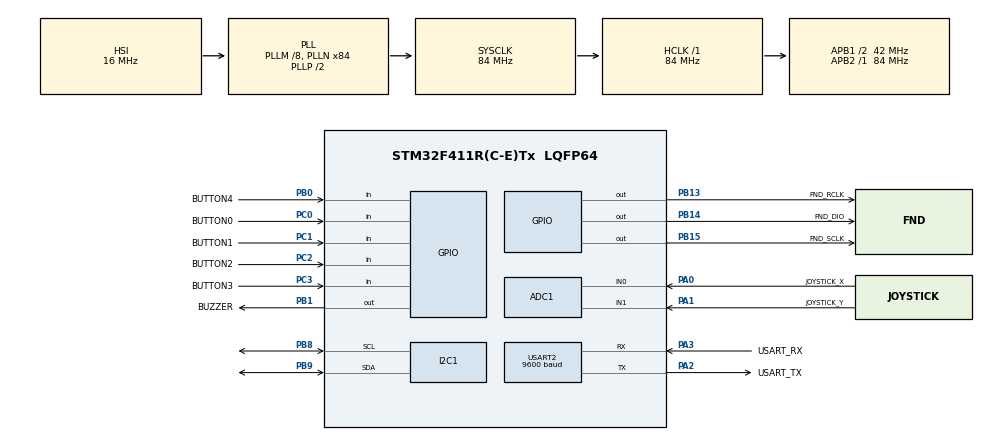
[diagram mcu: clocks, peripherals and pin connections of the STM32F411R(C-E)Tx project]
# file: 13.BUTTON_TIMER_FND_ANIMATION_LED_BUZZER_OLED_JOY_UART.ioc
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ADC1.Channel-4\#ChannelRegularConversion=ADC_CHANNEL_0
ADC1.Channel-5\#ChannelRegularConversion=ADC_CHANNEL_1
ADC1.InjNumberOfConversion=0
ADC1.NbrOfConversion=2
ADC1.NbrOfConversionFlag=1
ADC1.Rank-4\#ChannelRegularConversion=1
ADC1.Rank-5\#ChannelRegularConversion=2
ADC1.SamplingTime-4\#ChannelRegularConversion=ADC_SAMPLETIME_56CYCLES
ADC1.SamplingTime-5\#ChannelRegularConversion=ADC_SAMPLETIME_56CYCLES
ADC1.ScanConvMode=ENABLE
ADC1.master=1
Mcu.Family=STM32F4
Mcu.Name=STM32F411R(C-E)Tx
Mcu.Package=LQFP64
NVIC.PriorityGroup=NVIC_PRIORITYGROUP_0
NVIC.TIM1_UP_TIM10_IRQn=true\:0\:0\:false\:false\:true\:true\:true\:true
NVIC.USART2_IRQn=true\:0\:0\:false\:false\:true\:true\:true\:true
PA0-WKUP.GPIO_Label=JOYSTICK_X
PA0-WKUP.Signal=SharedAnalog_PA0
PA1.GPIO_Label=JOYSTICK_Y
PA1.Signal=SharedAnalog_PA1
PA2.GPIO_Label=USART_TX
PA2.Mode=Asynchronous
PA2.Signal=USART2_TX
PA3.GPIO_Label=USART_RX
PA3.Mode=Asynchronous
PA3.Signal=USART2_RX
PB0.GPIO_Label=BUTTON4
PB0.GPIO_PuPd=GPIO_PULLUP
PB0.Signal=GPIO_Input
PB1.GPIO_Label=BUZZER
PB1.Signal=GPIO_Output
PB13.GPIO_Label=FND_RCLK
PB13.GPIO_ModeDefaultOutputPP=GPIO_MODE_OUTPUT_PP
PB13.GPIO_PuPd=GPIO_PULLUP
PB13.GPIO_Speed=GPIO_SPEED_FREQ_HIGH
PB13.PinState=GPIO_PIN_SET
PB13.Signal=GPIO_Output
PB14.GPIO_Label=FND_DIO
PB14.GPIO_ModeDefaultOutputPP=GPIO_MODE_OUTPUT_PP
PB14.GPIO_PuPd=GPIO_PULLUP
PB14.GPIO_Speed=GPIO_SPEED_FREQ_HIGH
PB14.PinState=GPIO_PIN_SET
PB14.Signal=GPIO_Output
PB15.GPIO_Label=FND_SCLK
PB15.GPIO_PuPd=GPIO_PULLUP
PB15.GPIO_Speed=GPIO_SPEED_FREQ_HIGH
PB15.PinState=GPIO_PIN_SET
PB15.Signal=GPIO_Output
PB8.Mode=I2C
PB8.Signal=I2C1_SCL
PB9.Mode=I2C
PB9.Signal=I2C1_SDA
PC0.GPIO_Label=BUTTON0
PC0.GPIO_PuPd=GPIO_PULLUP
PC0.Signal=GPIO_Input
PC1.GPIO_Label=BUTTON1
PC1.GPIO_PuPd=GPIO_PULLUP
PC1.Signal=GPIO_Input
PC2.GPIO_Label=BUTTON2
PC2.GPIO_PuPd=GPIO_PULLUP
PC2.Signal=GPIO_Input
PC3.GPIO_Label=BUTTON3
PC3.GPIO_PuPd=GPIO_PULLUP
PC3.Signal=GPIO_Input
ProjectManager.HeapSize=0x200
ProjectManager.StackSize=0x400
ProjectManager.TargetToolchain=STM32CubeIDE
RCC.48MHZClocksFreq_Value=42000000
RCC.AHBFreq_Value=84000000
RCC.APB1CLKDivider=RCC_HCLK_DIV2
RCC.APB1Freq_Value=42000000
RCC.APB1TimFreq_Value=84000000
RCC.APB2Freq_Value=84000000
RCC.APB2TimFreq_Value=84000000
RCC.CortexFreq_Value=84000000
RCC.FLatency-AdvancedSettings=FLASH_LATENCY_2
RCC.HCLKFreq_Value=84000000
RCC.HSE_VALUE=8000000
RCC.HSI_VALUE=16000000
RCC.LSE_VALUE=32768
RCC.PLLM=8
RCC.PLLN=84
RCC.SYSCLKFreq_VALUE=84000000
RCC.SYSCLKSource=RCC_SYSCLKSOURCE_PLLCLK
RCC.VCOOutputFreq_Value=168000000
SH.SharedAnalog_PA0.0=GPIO_Analog
SH.SharedAnalog_PA0.1=ADC1_IN0,IN0
SH.SharedAnalog_PA1.0=GPIO_Analog
SH.SharedAnalog_PA1.1=ADC1_IN1,IN1
TIM10.Period=500-1
TIM10.Prescaler=84-1
TIM2.Prescaler=84-1
USART2.BaudRate=9600
USART2.VirtualMode=VM_ASYNC
VP_TIM10_VS_ClockSourceINT.Mode=Enable_Timer
VP_TIM2_VS_ClockSourceINT.Mode=Internal
board=NUCLEO-F411RE

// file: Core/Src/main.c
/* USER CODE BEGIN Header */
/**
  ******************************************************************************
  * @file           : main.c
  * @brief          : Main program body
  ******************************************************************************
  * @attention
  *
  * Copyright (c) 2026 STMicroelectronics.
  * All rights reserved.
  *
  * This software is licensed under terms that can be found in the LICENSE file
  * in the root directory of this software component.
  * If no LICENSE file comes with this software, it is provided AS-IS.
  *
  ******************************************************************************
  */
/* USER CODE END Header */
#include "main.h"

/* USER CODE BEGIN Includes */
#include "button.h"
#include "button_uart.h"
#include "fnd_controller.h"
#include "ssd1306.h"
#include "joystick.h"
/* USER CODE END Includes */

ADC_HandleTypeDef hadc1;

I2C_HandleTypeDef hi2c1;

TIM_HandleTypeDef htim2;
TIM_HandleTypeDef htim10;

UART_HandleTypeDef huart2;

/* USER CODE BEGIN PV */

volatile int shots_left = 0; // fnd number

volatile int step = 0;
volatile int anim_cnt = 0;
volatile uint8_t fnd_digit = 0;

uint8_t rx_data;

#define UART_BUF_SIZE 32

uint8_t uart_buf[UART_BUF_SIZE];
volatile uint8_t uart_head = 0;
volatile uint8_t uart_tail = 0;
/* USER CODE END PV */

void SystemClock_Config(void);
static void MX_GPIO_Init(void);
static void MX_USART2_UART_Init(void);
static void MX_TIM10_Init(void);
static void MX_TIM2_Init(void);
static void MX_I2C1_Init(void);
static void MX_ADC1_Init(void);
/* USER CODE BEGIN PFP */
extern void led_main(void);
extern void delay_us(unsigned int us);
/* USER CODE END PFP */

/* USER CODE BEGIN 0 */

void HAL_TIM_PeriodElapsedCallback(TIM_HandleTypeDef *htim)
{
    if (htim->Instance == TIM10)
    {

    	digit4_outer_spin_number(shots_left, step, fnd_digit);

    	fnd_digit++;

    	if(fnd_digit >= 4)
    	{
    		fnd_digit = 0;
    	}

        anim_cnt++;
        if (anim_cnt > 45)
        {
          anim_cnt = 0;
          step++;
          if (step >= 13)
            step = 0;
        }

    }
}

#ifdef __GNUC__
#define PUTCHAR_PROTOTYPE int __io_putchar(int ch)
#else
#define PUTCHAR_PROTOTYPE int fputc(int ch, FILE *f)
#endif

PUTCHAR_PROTOTYPE
{
    HAL_UART_Transmit(&huart2, (uint8_t *)&ch, 1, 0xFFFF);
    return ch;
}

void HAL_UART_RxCpltCallback(UART_HandleTypeDef *huart)
{
    if (huart->Instance == USART2)
    {
        uint8_t next = (uart_head + 1) % UART_BUF_SIZE;

        if (next != uart_tail)
        {
            uart_buf[uart_head] = rx_data;
            uart_head = next;
        }

        HAL_UART_Receive_IT(&huart2, &rx_data, 1);
    }
}

/* USER CODE END 0 */

int main(void)
{

  /* MCU Configuration--------------------------------------------------------*/

  /* Reset of all peripherals, Initializes the Flash interface and the Systick. */
  HAL_Init();

  /* Configure the system clock */
  SystemClock_Config();

  /* Initialize all configured peripherals */
  MX_GPIO_Init();
  MX_USART2_UART_Init();
  MX_TIM10_Init();
  MX_TIM2_Init();
  MX_I2C1_Init();
  MX_ADC1_Init();
  /* USER CODE BEGIN 2 */
  HAL_TIM_Base_Start_IT(&htim10);
  HAL_TIM_Base_Start_IT(&htim2);

  init_fnd();
  ssd1306_init();

  grid_clear();
  grid_render();
  ssd1306_update_screen();

  HAL_UART_Receive_IT(&huart2, &rx_data, 1);
  /* USER CODE END 2 */

  /* Infinite loop */
  while (1)
  {

    /* USER CODE BEGIN 3 */
    //static int anim_cnt = 0;
    //static int step = 0;

    button_uart();

    HAL_ADC_Start(&hadc1);

    HAL_ADC_PollForConversion(&hadc1, 10);
    uint32_t x = HAL_ADC_GetValue(&hadc1);

    HAL_ADC_PollForConversion(&hadc1, 10);
    uint32_t y = HAL_ADC_GetValue(&hadc1);

    HAL_ADC_Stop(&hadc1);

    joystick_check(x, y);

    while (uart_tail != uart_head)
    {
      uint8_t data = uart_buf[uart_tail];
      uart_tail = (uart_tail + 1) % UART_BUF_SIZE;

      if (data == 0x10)
      {
        shots_left = 0;
        grid_clear();
        grid_render();
        ssd1306_update_screen();
      }

      oled_uart_process(data);
    }

    //digit4_outer_spin_number(shots_left, step, 15);

  /* USER CODE END 3 */
}
}
void SystemClock_Config(void)
{
  RCC_OscInitTypeDef RCC_OscInitStruct = {0};
  RCC_ClkInitTypeDef RCC_ClkInitStruct = {0};

  /** Configure the main internal regulator output voltage
  */
  __HAL_RCC_PWR_CLK_ENABLE();
  __HAL_PWR_VOLTAGESCALING_CONFIG(PWR_REGULATOR_VOLTAGE_SCALE1);

  /** Initializes the RCC Oscillators according to the specified parameters
  * in the RCC_OscInitTypeDef structure.
  */
  RCC_OscInitStruct.OscillatorType = RCC_OSCILLATORTYPE_HSI;
  RCC_OscInitStruct.HSIState = RCC_HSI_ON;
  RCC_OscInitStruct.HSICalibrationValue = RCC_HSICALIBRATION_DEFAULT;
  RCC_OscInitStruct.PLL.PLLState = RCC_PLL_ON;
  RCC_OscInitStruct.PLL.PLLSource = RCC_PLLSOURCE_HSI;
  RCC_OscInitStruct.PLL.PLLM = 8;
  RCC_OscInitStruct.PLL.PLLN = 84;
  RCC_OscInitStruct.PLL.PLLP = RCC_PLLP_DIV2;
  RCC_OscInitStruct.PLL.PLLQ = 4;
  if (HAL_RCC_OscConfig(&RCC_OscInitStruct) != HAL_OK)
  {
    Error_Handler();
  }

  /** Initializes the CPU, AHB and APB buses clocks
  */
  RCC_ClkInitStruct.ClockType = RCC_CLOCKTYPE_HCLK|RCC_CLOCKTYPE_SYSCLK
                              |RCC_CLOCKTYPE_PCLK1|RCC_CLOCKTYPE_PCLK2;
  RCC_ClkInitStruct.SYSCLKSource = RCC_SYSCLKSOURCE_PLLCLK;
  RCC_ClkInitStruct.AHBCLKDivider = RCC_SYSCLK_DIV1;
  RCC_ClkInitStruct.APB1CLKDivider = RCC_HCLK_DIV2;
  RCC_ClkInitStruct.APB2CLKDivider = RCC_HCLK_DIV1;

  if (HAL_RCC_ClockConfig(&RCC_ClkInitStruct, FLASH_LATENCY_2) != HAL_OK)
  {
    Error_Handler();
  }
}

static void MX_ADC1_Init(void)
{

  ADC_ChannelConfTypeDef sConfig = {0};

  /** Configure the global features of the ADC (Clock, Resolution, Data Alignment and number of conversion)
  */
  hadc1.Instance = ADC1;
  hadc1.Init.ClockPrescaler = ADC_CLOCK_SYNC_PCLK_DIV4;
  hadc1.Init.Resolution = ADC_RESOLUTION_12B;
  hadc1.Init.ScanConvMode = ENABLE;
  hadc1.Init.ContinuousConvMode = DISABLE;
  hadc1.Init.DiscontinuousConvMode = DISABLE;
  hadc1.Init.ExternalTrigConvEdge = ADC_EXTERNALTRIGCONVEDGE_NONE;
  hadc1.Init.ExternalTrigConv = ADC_SOFTWARE_START;
  hadc1.Init.DataAlign = ADC_DATAALIGN_RIGHT;
  hadc1.Init.NbrOfConversion = 2;
  hadc1.Init.DMAContinuousRequests = DISABLE;
  hadc1.Init.EOCSelection = ADC_EOC_SINGLE_CONV;
  if (HAL_ADC_Init(&hadc1) != HAL_OK)
  {
    Error_Handler();
  }

  /** Configure for the selected ADC regular channel its corresponding rank in the sequencer and its sample time.
  */
  sConfig.Channel = ADC_CHANNEL_0;
  sConfig.Rank = 1;
  sConfig.SamplingTime = ADC_SAMPLETIME_56CYCLES;
  if (HAL_ADC_ConfigChannel(&hadc1, &sConfig) != HAL_OK)
  {
    Error_Handler();
  }

  /** Configure for the selected ADC regular channel its corresponding rank in the sequencer and its sample time.
  */
  sConfig.Channel = ADC_CHANNEL_1;
  sConfig.Rank = 2;
  if (HAL_ADC_ConfigChannel(&hadc1, &sConfig) != HAL_OK)
  {
    Error_Handler();
  }

}

static void MX_I2C1_Init(void)
{

  hi2c1.Instance = I2C1;
  hi2c1.Init.ClockSpeed = 100000;
  hi2c1.Init.DutyCycle = I2C_DUTYCYCLE_2;
  hi2c1.Init.OwnAddress1 = 0;
  hi2c1.Init.AddressingMode = I2C_ADDRESSINGMODE_7BIT;
  hi2c1.Init.DualAddressMode = I2C_DUALADDRESS_DISABLE;
  hi2c1.Init.OwnAddress2 = 0;
  hi2c1.Init.GeneralCallMode = I2C_GENERALCALL_DISABLE;
  hi2c1.Init.NoStretchMode = I2C_NOSTRETCH_DISABLE;
  if (HAL_I2C_Init(&hi2c1) != HAL_OK)
  {
    Error_Handler();
  }

}

static void MX_TIM2_Init(void)
{

  TIM_ClockConfigTypeDef sClockSourceConfig = {0};
  TIM_MasterConfigTypeDef sMasterConfig = {0};

  htim2.Instance = TIM2;
  htim2.Init.Prescaler = 84-1;
  htim2.Init.CounterMode = TIM_COUNTERMODE_UP;
  htim2.Init.Period = 4294967295;
  htim2.Init.ClockDivision = TIM_CLOCKDIVISION_DIV1;
  htim2.Init.AutoReloadPreload = TIM_AUTORELOAD_PRELOAD_DISABLE;
  if (HAL_TIM_Base_Init(&htim2) != HAL_OK)
  {
    Error_Handler();
  }
  sClockSourceConfig.ClockSource = TIM_CLOCKSOURCE_INTERNAL;
  if (HAL_TIM_ConfigClockSource(&htim2, &sClockSourceConfig) != HAL_OK)
  {
    Error_Handler();
  }
  sMasterConfig.MasterOutputTrigger = TIM_TRGO_RESET;
  sMasterConfig.MasterSlaveMode = TIM_MASTERSLAVEMODE_DISABLE;
  if (HAL_TIMEx_MasterConfigSynchronization(&htim2, &sMasterConfig) != HAL_OK)
  {
    Error_Handler();
  }

}

static void MX_TIM10_Init(void)
{

  htim10.Instance = TIM10;
  htim10.Init.Prescaler = 84-1;
  htim10.Init.CounterMode = TIM_COUNTERMODE_UP;
  htim10.Init.Period = 500-1;
  htim10.Init.ClockDivision = TIM_CLOCKDIVISION_DIV1;
  htim10.Init.AutoReloadPreload = TIM_AUTORELOAD_PRELOAD_DISABLE;
  if (HAL_TIM_Base_Init(&htim10) != HAL_OK)
  {
    Error_Handler();
  }

}

static void MX_USART2_UART_Init(void)
{

  huart2.Instance = USART2;
  huart2.Init.BaudRate = 9600;
  huart2.Init.WordLength = UART_WORDLENGTH_8B;
  huart2.Init.StopBits = UART_STOPBITS_1;
  huart2.Init.Parity = UART_PARITY_NONE;
  huart2.Init.Mode = UART_MODE_TX_RX;
  huart2.Init.HwFlowCtl = UART_HWCONTROL_NONE;
  huart2.Init.OverSampling = UART_OVERSAMPLING_16;
  if (HAL_UART_Init(&huart2) != HAL_OK)
  {
    Error_Handler();
  }

}

static void MX_GPIO_Init(void)
{
  GPIO_InitTypeDef GPIO_InitStruct = {0};

  /* GPIO Ports Clock Enable */
  __HAL_RCC_GPIOC_CLK_ENABLE();
  __HAL_RCC_GPIOA_CLK_ENABLE();
  __HAL_RCC_GPIOB_CLK_ENABLE();

  /*Configure GPIO pin Output Level */
  HAL_GPIO_WritePin(BUZZER_GPIO_Port, BUZZER_Pin, GPIO_PIN_RESET);

  /*Configure GPIO pin Output Level */
  HAL_GPIO_WritePin(GPIOB, FND_RCLK_Pin|FND_DIO_Pin|FND_SCLK_Pin, GPIO_PIN_SET);

  /*Configure GPIO pins : BUTTON0_Pin BUTTON1_Pin BUTTON2_Pin BUTTON3_Pin */
  GPIO_InitStruct.Pin = BUTTON0_Pin|BUTTON1_Pin|BUTTON2_Pin|BUTTON3_Pin;
  GPIO_InitStruct.Mode = GPIO_MODE_INPUT;
  GPIO_InitStruct.Pull = GPIO_PULLUP;
  HAL_GPIO_Init(GPIOC, &GPIO_InitStruct);

  /*Configure GPIO pin : BUTTON4_Pin */
  GPIO_InitStruct.Pin = BUTTON4_Pin;
  GPIO_InitStruct.Mode = GPIO_MODE_INPUT;
  GPIO_InitStruct.Pull = GPIO_PULLUP;
  HAL_GPIO_Init(BUTTON4_GPIO_Port, &GPIO_InitStruct);

  /*Configure GPIO pin : BUZZER_Pin */
  GPIO_InitStruct.Pin = BUZZER_Pin;
  GPIO_InitStruct.Mode = GPIO_MODE_OUTPUT_PP;
  GPIO_InitStruct.Pull = GPIO_NOPULL;
  GPIO_InitStruct.Speed = GPIO_SPEED_FREQ_LOW;
  HAL_GPIO_Init(BUZZER_GPIO_Port, &GPIO_InitStruct);

  /*Configure GPIO pins : FND_RCLK_Pin FND_DIO_Pin FND_SCLK_Pin */
  GPIO_InitStruct.Pin = FND_RCLK_Pin|FND_DIO_Pin|FND_SCLK_Pin;
  GPIO_InitStruct.Mode = GPIO_MODE_OUTPUT_PP;
  GPIO_InitStruct.Pull = GPIO_PULLUP;
  GPIO_InitStruct.Speed = GPIO_SPEED_FREQ_HIGH;
  HAL_GPIO_Init(GPIOB, &GPIO_InitStruct);

}

void Error_Handler(void)
{
    __disable_irq();
    while (1)
    {
    }
}
